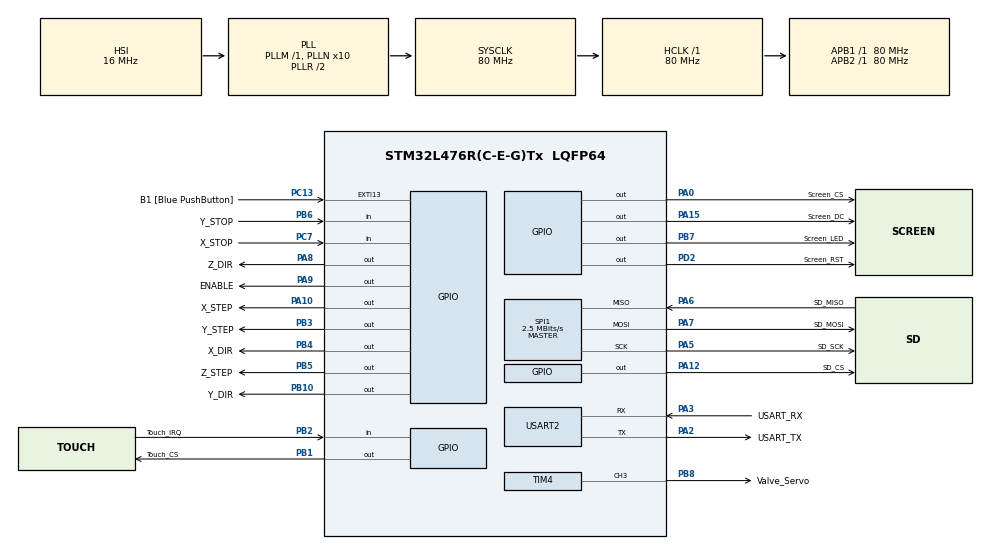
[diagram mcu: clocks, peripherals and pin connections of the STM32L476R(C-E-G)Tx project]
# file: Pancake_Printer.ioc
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FREERTOS.Queues01=commandQueue,15,int,0,Dynamic,NULL,NULL;coordQueue,15,float,0,Dynamic,NULL,NULL
FREERTOS.Tasks01=defaultTask,24,128,StartDefaultTask,Default,NULL,Dynamic,NULL,NULL;commandTask,24,350,StartCommandTask,Default,NULL,Dynamic,NULL,NULL;parserTask,24,400,StartParserTask,Default,NULL,Dynamic,NULL,NULL
FREERTOS.configTOTAL_HEAP_SIZE=5000
Mcu.Family=STM32L4
Mcu.Name=STM32L476R(C-E-G)Tx
Mcu.Package=LQFP64
NVIC.PriorityGroup=NVIC_PRIORITYGROUP_4
NVIC.TIM2_IRQn=true\:15\:0\:false\:false\:true\:false\:false\:true\:true
NVIC.TimeBase=TIM2_IRQn
NVIC.TimeBaseIP=TIM2
PA0.GPIO_Label=Screen_CS
PA0.Signal=GPIO_Output
PA10.GPIO_Label=X_STEP
PA10.GPIO_Speed=GPIO_SPEED_FREQ_VERY_HIGH
PA10.Signal=GPIO_Output
PA12.GPIO_Label=SD_CS
PA12.Signal=GPIO_Output
PA13\ (JTMS-SWDIO).GPIO_Label=TMS
PA13\ (JTMS-SWDIO).Signal=SYS_JTMS-SWDIO
PA14\ (JTCK-SWCLK).GPIO_Label=TCK
PA14\ (JTCK-SWCLK).Signal=SYS_JTCK-SWCLK
PA15\ (JTDI).GPIO_Label=Screen_DC
PA15\ (JTDI).Signal=GPIO_Output
PA2.GPIO_Label=USART_TX
PA2.GPIO_Mode=GPIO_MODE_AF_PP
PA2.GPIO_PuPd=GPIO_NOPULL
PA2.GPIO_Speed=GPIO_SPEED_FREQ_VERY_HIGH
PA2.Mode=Asynchronous
PA2.Signal=USART2_TX
PA3.GPIO_Label=USART_RX
PA3.GPIO_Mode=GPIO_MODE_AF_PP
PA3.GPIO_PuPd=GPIO_NOPULL
PA3.GPIO_Speed=GPIO_SPEED_FREQ_VERY_HIGH
PA3.Mode=Asynchronous
PA3.Signal=USART2_RX
PA5.GPIO_Label=SD_SCK
PA5.Mode=Full_Duplex_Master
PA5.Signal=SPI1_SCK
PA6.GPIO_Label=SD_MISO
PA6.Mode=Full_Duplex_Master
PA6.Signal=SPI1_MISO
PA7.GPIO_Label=SD_MOSI
PA7.Mode=Full_Duplex_Master
PA7.Signal=SPI1_MOSI
PA8.GPIO_Label=Z_DIR
PA8.GPIO_Speed=GPIO_SPEED_FREQ_LOW
PA8.Signal=GPIO_Output
PA9.GPIO_Label=ENABLE
PA9.Signal=GPIO_Output
PB1.GPIO_Label=Touch_CS
PB1.Signal=GPIO_Output
PB10.GPIO_Label=Y_DIR
PB10.Signal=GPIO_Output
PB13.GPIO_Label=Touch_SCK
PB13.Signal=SPI2_SCK
PB14.GPIO_Label=Touch_MISO
PB14.Signal=SPI2_MISO
PB15.GPIO_Label=Touch_MOSI
PB15.Signal=SPI2_MOSI
PB2.GPIO_Label=Touch_IRQ
PB2.Signal=GPIO_Input
PB3\ (JTDO-TRACESWO).GPIO_Label=Y_STEP
PB3\ (JTDO-TRACESWO).GPIO_Speed=GPIO_SPEED_FREQ_VERY_HIGH
PB3\ (JTDO-TRACESWO).Signal=GPIO_Output
PB4\ (NJTRST).GPIO_Label=X_DIR
PB4\ (NJTRST).Signal=GPIO_Output
PB5.GPIO_Label=Z_STEP
PB5.GPIO_Speed=GPIO_SPEED_FREQ_VERY_HIGH
PB5.Signal=GPIO_Output
PB6.GPIO_Label=Y_STOP
PB6.Signal=GPIO_Input
PB7.GPIO_Label=Screen_LED
PB7.Signal=GPIO_Output
PB8.GPIO_Label=Valve_Servo
PB8.Signal=S_TIM4_CH3
PC10.GPIO_Label=Screen_SCK
PC10.Signal=SPI3_SCK
PC11.GPIO_Label=Screen_MISO
PC11.Signal=SPI3_MISO
PC12.GPIO_Label=Screen_MOSI
PC12.Signal=SPI3_MOSI
PC13.GPIO_Label=B1 [Blue PushButton]
PC13.GPIO_ModeDefaultEXTI=GPIO_MODE_IT_FALLING
PC13.GPIO_PuPd=GPIO_NOPULL
PC13.Signal=GPXTI13
PC14-OSC32_IN\ (PC14).Mode=LSE-External-Oscillator
PC14-OSC32_IN\ (PC14).Signal=RCC_OSC32_IN
PC15-OSC32_OUT\ (PC15).Mode=LSE-External-Oscillator
PC15-OSC32_OUT\ (PC15).Signal=RCC_OSC32_OUT
PC7.GPIO_Label=X_STOP
PC7.Signal=GPIO_Input
PD2.GPIO_Label=Screen_RST
PD2.Signal=GPIO_Output
PH0-OSC_IN\ (PH0).Signal=RCC_OSC_IN
PH1-OSC_OUT\ (PH1).Signal=RCC_OSC_OUT
ProjectManager.HeapSize=0x200
ProjectManager.StackSize=0x400
ProjectManager.TargetToolchain=STM32CubeIDE
RCC.ADCFreq_Value=64000000
RCC.AHBFreq_Value=80000000
RCC.APB1Freq_Value=80000000
RCC.APB1TimFreq_Value=80000000
RCC.APB2Freq_Value=80000000
RCC.APB2TimFreq_Value=80000000
RCC.CortexFreq_Value=80000000
RCC.HCLKFreq_Value=80000000
RCC.HSE_VALUE=8000000
RCC.HSI_VALUE=16000000
RCC.MSI_VALUE=4000000
RCC.PLLN=10
RCC.PLLSourceVirtual=RCC_PLLSOURCE_HSI
RCC.PREFETCH_ENABLE=1
RCC.SYSCLKFreq_VALUE=80000000
RCC.SYSCLKSource=RCC_SYSCLKSOURCE_PLLCLK
RCC.USBFreq_Value=64000000
RCC.VCOOutputFreq_Value=160000000
SH.S_TIM4_CH3.0=TIM4_CH3,PWM Generation3 CH3
SPI1.BaudRatePrescaler=SPI_BAUDRATEPRESCALER_32
SPI1.CalculateBaudRate=2.5 MBits/s
SPI1.DataSize=SPI_DATASIZE_8BIT
SPI1.Direction=SPI_DIRECTION_2LINES
SPI1.Mode=SPI_MODE_MASTER
SPI1.NSSPMode=SPI_NSS_PULSE_ENABLE
SPI1.VirtualType=VM_MASTER
TIM1.Prescaler=80-1
TIM4.Channel-PWM\ Generation3\ CH3=TIM_CHANNEL_3
TIM4.OCPolarity_3=TIM_OCPOLARITY_HIGH
TIM4.Period=16000
TIM4.Prescaler=100
TIM4.Pulse-PWM\ Generation3\ CH3=16000
USART2.VirtualMode-Asynchronous=VM_ASYNC
VP_FATFS_VS_Generic.Mode=User_defined
VP_FREERTOS_VS_CMSIS_V2.Mode=CMSIS_V2
VP_SYS_VS_tim2.Mode=TIM2
VP_TIM1_VS_ClockSourceINT.Mode=Internal
board=NUCLEO-L476RG

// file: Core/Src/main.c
/* USER CODE BEGIN Header */
/**
  ******************************************************************************
  * @file           : main.c
  * @brief          : Main program body
  ******************************************************************************
  * @attention
  *
  * Copyright (c) 2023 STMicroelectronics.
  * All rights reserved.
  *
  * This software is licensed under terms that can be found in the LICENSE file
  * in the root directory of this software component.
  * If no LICENSE file comes with this software, it is provided AS-IS.
  *
  ******************************************************************************
  */
/* USER CODE END Header */
#include "main.h"
#include "cmsis_os.h"
#include "fatfs.h"

/* USER CODE BEGIN Includes */
#include <stdbool.h>
#include "Movement.h"
#include "sdcard.h"
#include "interpreter.h"
/* USER CODE END Includes */

SPI_HandleTypeDef hspi1;

TIM_HandleTypeDef htim1;
TIM_HandleTypeDef htim4;

UART_HandleTypeDef huart2;

/* Definitions for defaultTask */
osThreadId_t defaultTaskHandle;
const osThreadAttr_t defaultTask_attributes = {
  .name = "defaultTask",
  .stack_size = 128 * 4,
  .priority = (osPriority_t) osPriorityNormal,
};
/* Definitions for commandTask */
osThreadId_t commandTaskHandle;
const osThreadAttr_t commandTask_attributes = {
  .name = "commandTask",
  .stack_size = 350 * 4,
  .priority = (osPriority_t) osPriorityNormal,
};
/* Definitions for parserTask */
osThreadId_t parserTaskHandle;
const osThreadAttr_t parserTask_attributes = {
  .name = "parserTask",
  .stack_size = 400 * 4,
  .priority = (osPriority_t) osPriorityNormal,
};
/* Definitions for commandQueue */
osMessageQueueId_t commandQueueHandle;
const osMessageQueueAttr_t commandQueue_attributes = {
  .name = "commandQueue"
};
/* Definitions for coordQueue */
osMessageQueueId_t coordQueueHandle;
const osMessageQueueAttr_t coordQueue_attributes = {
  .name = "coordQueue"
};

void SystemClock_Config(void);
static void MX_GPIO_Init(void);
static void MX_USART2_UART_Init(void);
static void MX_TIM1_Init(void);
static void MX_SPI1_Init(void);
static void MX_TIM4_Init(void);
void StartDefaultTask(void *argument);
void StartCommandTask(void *argument);
void StartParserTask(void *argument);

int main(void)
{

  /* MCU Configuration--------------------------------------------------------*/

  /* Reset of all peripherals, Initializes the Flash interface and the Systick. */
  HAL_Init();

  /* Configure the system clock */
  SystemClock_Config();

  /* Initialize all configured peripherals */
  MX_GPIO_Init();
  MX_USART2_UART_Init();
  MX_TIM1_Init();
  MX_SPI1_Init();
  MX_FATFS_Init();
  MX_TIM4_Init();
  /* USER CODE BEGIN 2 */
  HAL_TIM_PWM_Start(&htim4, TIM_CHANNEL_3);
  motor_init();
  //reset_extruder();
  OpenFile("test.gcode");

  /* USER CODE END 2 */

  /* Init scheduler */
  osKernelInitialize();

  /* Create the queue(s) */
  /* creation of commandQueue */
  commandQueueHandle = osMessageQueueNew (15, sizeof(int), &commandQueue_attributes);

  /* creation of coordQueue */
  coordQueueHandle = osMessageQueueNew (15, sizeof(float), &coordQueue_attributes);

  /* Create the thread(s) */
  /* creation of defaultTask */
  defaultTaskHandle = osThreadNew(StartDefaultTask, NULL, &defaultTask_attributes);

  /* creation of commandTask */
  commandTaskHandle = osThreadNew(StartCommandTask, NULL, &commandTask_attributes);

  /* creation of parserTask */
  parserTaskHandle = osThreadNew(StartParserTask, NULL, &parserTask_attributes);

  /* Start scheduler */
  osKernelStart();

  /* We should never get here as control is now taken by the scheduler */
  /* Infinite loop */
  while (1)
  {

  }
}

void SystemClock_Config(void)
{
  RCC_OscInitTypeDef RCC_OscInitStruct = {0};
  RCC_ClkInitTypeDef RCC_ClkInitStruct = {0};

  /** Configure the main internal regulator output voltage
  */
  if (HAL_PWREx_ControlVoltageScaling(PWR_REGULATOR_VOLTAGE_SCALE1) != HAL_OK)
  {
    Error_Handler();
  }

  /** Initializes the RCC Oscillators according to the specified parameters
  * in the RCC_OscInitTypeDef structure.
  */
  RCC_OscInitStruct.OscillatorType = RCC_OSCILLATORTYPE_HSI;
  RCC_OscInitStruct.HSIState = RCC_HSI_ON;
  RCC_OscInitStruct.HSICalibrationValue = RCC_HSICALIBRATION_DEFAULT;
  RCC_OscInitStruct.PLL.PLLState = RCC_PLL_ON;
  RCC_OscInitStruct.PLL.PLLSource = RCC_PLLSOURCE_HSI;
  RCC_OscInitStruct.PLL.PLLM = 1;
  RCC_OscInitStruct.PLL.PLLN = 10;
  RCC_OscInitStruct.PLL.PLLP = RCC_PLLP_DIV7;
  RCC_OscInitStruct.PLL.PLLQ = RCC_PLLQ_DIV2;
  RCC_OscInitStruct.PLL.PLLR = RCC_PLLR_DIV2;
  if (HAL_RCC_OscConfig(&RCC_OscInitStruct) != HAL_OK)
  {
    Error_Handler();
  }

  /** Initializes the CPU, AHB and APB buses clocks
  */
  RCC_ClkInitStruct.ClockType = RCC_CLOCKTYPE_HCLK|RCC_CLOCKTYPE_SYSCLK
                              |RCC_CLOCKTYPE_PCLK1|RCC_CLOCKTYPE_PCLK2;
  RCC_ClkInitStruct.SYSCLKSource = RCC_SYSCLKSOURCE_PLLCLK;
  RCC_ClkInitStruct.AHBCLKDivider = RCC_SYSCLK_DIV1;
  RCC_ClkInitStruct.APB1CLKDivider = RCC_HCLK_DIV1;
  RCC_ClkInitStruct.APB2CLKDivider = RCC_HCLK_DIV1;

  if (HAL_RCC_ClockConfig(&RCC_ClkInitStruct, FLASH_LATENCY_4) != HAL_OK)
  {
    Error_Handler();
  }
}

static void MX_SPI1_Init(void)
{

  /* SPI1 parameter configuration*/
  hspi1.Instance = SPI1;
  hspi1.Init.Mode = SPI_MODE_MASTER;
  hspi1.Init.Direction = SPI_DIRECTION_2LINES;
  hspi1.Init.DataSize = SPI_DATASIZE_8BIT;
  hspi1.Init.CLKPolarity = SPI_POLARITY_LOW;
  hspi1.Init.CLKPhase = SPI_PHASE_1EDGE;
  hspi1.Init.NSS = SPI_NSS_SOFT;
  hspi1.Init.BaudRatePrescaler = SPI_BAUDRATEPRESCALER_32;
  hspi1.Init.FirstBit = SPI_FIRSTBIT_MSB;
  hspi1.Init.TIMode = SPI_TIMODE_DISABLE;
  hspi1.Init.CRCCalculation = SPI_CRCCALCULATION_DISABLE;
  hspi1.Init.CRCPolynomial = 7;
  hspi1.Init.CRCLength = SPI_CRC_LENGTH_DATASIZE;
  hspi1.Init.NSSPMode = SPI_NSS_PULSE_ENABLE;
  if (HAL_SPI_Init(&hspi1) != HAL_OK)
  {
    Error_Handler();
  }

}

static void MX_TIM1_Init(void)
{

  TIM_ClockConfigTypeDef sClockSourceConfig = {0};
  TIM_MasterConfigTypeDef sMasterConfig = {0};

  htim1.Instance = TIM1;
  htim1.Init.Prescaler = 80-1;
  htim1.Init.CounterMode = TIM_COUNTERMODE_UP;
  htim1.Init.Period = 65535;
  htim1.Init.ClockDivision = TIM_CLOCKDIVISION_DIV1;
  htim1.Init.RepetitionCounter = 0;
  htim1.Init.AutoReloadPreload = TIM_AUTORELOAD_PRELOAD_DISABLE;
  if (HAL_TIM_Base_Init(&htim1) != HAL_OK)
  {
    Error_Handler();
  }
  sClockSourceConfig.ClockSource = TIM_CLOCKSOURCE_INTERNAL;
  if (HAL_TIM_ConfigClockSource(&htim1, &sClockSourceConfig) != HAL_OK)
  {
    Error_Handler();
  }
  sMasterConfig.MasterOutputTrigger = TIM_TRGO_RESET;
  sMasterConfig.MasterOutputTrigger2 = TIM_TRGO2_RESET;
  sMasterConfig.MasterSlaveMode = TIM_MASTERSLAVEMODE_DISABLE;
  if (HAL_TIMEx_MasterConfigSynchronization(&htim1, &sMasterConfig) != HAL_OK)
  {
    Error_Handler();
  }

}

static void MX_TIM4_Init(void)
{

  TIM_MasterConfigTypeDef sMasterConfig = {0};
  TIM_OC_InitTypeDef sConfigOC = {0};

  htim4.Instance = TIM4;
  htim4.Init.Prescaler = 100;
  htim4.Init.CounterMode = TIM_COUNTERMODE_UP;
  htim4.Init.Period = 16000;
  htim4.Init.ClockDivision = TIM_CLOCKDIVISION_DIV1;
  htim4.Init.AutoReloadPreload = TIM_AUTORELOAD_PRELOAD_DISABLE;
  if (HAL_TIM_PWM_Init(&htim4) != HAL_OK)
  {
    Error_Handler();
  }
  sMasterConfig.MasterOutputTrigger = TIM_TRGO_RESET;
  sMasterConfig.MasterSlaveMode = TIM_MASTERSLAVEMODE_DISABLE;
  if (HAL_TIMEx_MasterConfigSynchronization(&htim4, &sMasterConfig) != HAL_OK)
  {
    Error_Handler();
  }
  sConfigOC.OCMode = TIM_OCMODE_PWM1;
  sConfigOC.Pulse = 16000;
  sConfigOC.OCPolarity = TIM_OCPOLARITY_HIGH;
  sConfigOC.OCFastMode = TIM_OCFAST_DISABLE;
  if (HAL_TIM_PWM_ConfigChannel(&htim4, &sConfigOC, TIM_CHANNEL_3) != HAL_OK)
  {
    Error_Handler();
  }
  HAL_TIM_MspPostInit(&htim4);

}

static void MX_USART2_UART_Init(void)
{

  huart2.Instance = USART2;
  huart2.Init.BaudRate = 115200;
  huart2.Init.WordLength = UART_WORDLENGTH_8B;
  huart2.Init.StopBits = UART_STOPBITS_1;
  huart2.Init.Parity = UART_PARITY_NONE;
  huart2.Init.Mode = UART_MODE_TX_RX;
  huart2.Init.HwFlowCtl = UART_HWCONTROL_NONE;
  huart2.Init.OverSampling = UART_OVERSAMPLING_16;
  huart2.Init.OneBitSampling = UART_ONE_BIT_SAMPLE_DISABLE;
  huart2.AdvancedInit.AdvFeatureInit = UART_ADVFEATURE_NO_INIT;
  if (HAL_UART_Init(&huart2) != HAL_OK)
  {
    Error_Handler();
  }

}

static void MX_GPIO_Init(void)
{
  GPIO_InitTypeDef GPIO_InitStruct = {0};

  /* GPIO Ports Clock Enable */
  __HAL_RCC_GPIOC_CLK_ENABLE();
  __HAL_RCC_GPIOH_CLK_ENABLE();
  __HAL_RCC_GPIOA_CLK_ENABLE();
  __HAL_RCC_GPIOB_CLK_ENABLE();
  __HAL_RCC_GPIOD_CLK_ENABLE();

  /*Configure GPIO pin Output Level */
  HAL_GPIO_WritePin(GPIOA, Screen_CS_Pin|Z_DIR_Pin|ENABLE_Pin|X_STEP_Pin
                          |SD_CS_Pin|Screen_DC_Pin, GPIO_PIN_RESET);

  /*Configure GPIO pin Output Level */
  HAL_GPIO_WritePin(GPIOB, Touch_CS_Pin|Y_DIR_Pin|Y_STEP_Pin|X_DIR_Pin
                          |Z_STEP_Pin|Screen_LED_Pin, GPIO_PIN_RESET);

  /*Configure GPIO pin Output Level */
  HAL_GPIO_WritePin(Screen_RST_GPIO_Port, Screen_RST_Pin, GPIO_PIN_RESET);

  /*Configure GPIO pin : B1_Pin */
  GPIO_InitStruct.Pin = B1_Pin;
  GPIO_InitStruct.Mode = GPIO_MODE_IT_FALLING;
  GPIO_InitStruct.Pull = GPIO_NOPULL;
  HAL_GPIO_Init(B1_GPIO_Port, &GPIO_InitStruct);

  /*Configure GPIO pins : Screen_CS_Pin Z_DIR_Pin ENABLE_Pin SD_CS_Pin
                           Screen_DC_Pin */
  GPIO_InitStruct.Pin = Screen_CS_Pin|Z_DIR_Pin|ENABLE_Pin|SD_CS_Pin
                          |Screen_DC_Pin;
  GPIO_InitStruct.Mode = GPIO_MODE_OUTPUT_PP;
  GPIO_InitStruct.Pull = GPIO_NOPULL;
  GPIO_InitStruct.Speed = GPIO_SPEED_FREQ_LOW;
  HAL_GPIO_Init(GPIOA, &GPIO_InitStruct);

  /*Configure GPIO pins : Touch_CS_Pin Y_DIR_Pin X_DIR_Pin Screen_LED_Pin */
  GPIO_InitStruct.Pin = Touch_CS_Pin|Y_DIR_Pin|X_DIR_Pin|Screen_LED_Pin;
  GPIO_InitStruct.Mode = GPIO_MODE_OUTPUT_PP;
  GPIO_InitStruct.Pull = GPIO_NOPULL;
  GPIO_InitStruct.Speed = GPIO_SPEED_FREQ_LOW;
  HAL_GPIO_Init(GPIOB, &GPIO_InitStruct);

  /*Configure GPIO pins : Touch_IRQ_Pin Y_STOP_Pin */
  GPIO_InitStruct.Pin = Touch_IRQ_Pin|Y_STOP_Pin;
  GPIO_InitStruct.Mode = GPIO_MODE_INPUT;
  GPIO_InitStruct.Pull = GPIO_NOPULL;
  HAL_GPIO_Init(GPIOB, &GPIO_InitStruct);

  /*Configure GPIO pins : Touch_SCK_Pin Touch_MISO_Pin Touch_MOSI_Pin */
  GPIO_InitStruct.Pin = Touch_SCK_Pin|Touch_MISO_Pin|Touch_MOSI_Pin;
  GPIO_InitStruct.Mode = GPIO_MODE_AF_PP;
  GPIO_InitStruct.Pull = GPIO_NOPULL;
  GPIO_InitStruct.Speed = GPIO_SPEED_FREQ_VERY_HIGH;
  GPIO_InitStruct.Alternate = GPIO_AF5_SPI2;
  HAL_GPIO_Init(GPIOB, &GPIO_InitStruct);

  /*Configure GPIO pin : X_STOP_Pin */
  GPIO_InitStruct.Pin = X_STOP_Pin;
  GPIO_InitStruct.Mode = GPIO_MODE_INPUT;
  GPIO_InitStruct.Pull = GPIO_NOPULL;
  HAL_GPIO_Init(X_STOP_GPIO_Port, &GPIO_InitStruct);

  /*Configure GPIO pin : X_STEP_Pin */
  GPIO_InitStruct.Pin = X_STEP_Pin;
  GPIO_InitStruct.Mode = GPIO_MODE_OUTPUT_PP;
  GPIO_InitStruct.Pull = GPIO_NOPULL;
  GPIO_InitStruct.Speed = GPIO_SPEED_FREQ_VERY_HIGH;
  HAL_GPIO_Init(X_STEP_GPIO_Port, &GPIO_InitStruct);

  /*Configure GPIO pins : Screen_SCK_Pin Screen_MISO_Pin Screen_MOSI_Pin */
  GPIO_InitStruct.Pin = Screen_SCK_Pin|Screen_MISO_Pin|Screen_MOSI_Pin;
  GPIO_InitStruct.Mode = GPIO_MODE_AF_PP;
  GPIO_InitStruct.Pull = GPIO_NOPULL;
  GPIO_InitStruct.Speed = GPIO_SPEED_FREQ_VERY_HIGH;
  GPIO_InitStruct.Alternate = GPIO_AF6_SPI3;
  HAL_GPIO_Init(GPIOC, &GPIO_InitStruct);

  /*Configure GPIO pin : Screen_RST_Pin */
  GPIO_InitStruct.Pin = Screen_RST_Pin;
  GPIO_InitStruct.Mode = GPIO_MODE_OUTPUT_PP;
  GPIO_InitStruct.Pull = GPIO_NOPULL;
  GPIO_InitStruct.Speed = GPIO_SPEED_FREQ_LOW;
  HAL_GPIO_Init(Screen_RST_GPIO_Port, &GPIO_InitStruct);

  /*Configure GPIO pins : Y_STEP_Pin Z_STEP_Pin */
  GPIO_InitStruct.Pin = Y_STEP_Pin|Z_STEP_Pin;
  GPIO_InitStruct.Mode = GPIO_MODE_OUTPUT_PP;
  GPIO_InitStruct.Pull = GPIO_NOPULL;
  GPIO_InitStruct.Speed = GPIO_SPEED_FREQ_VERY_HIGH;
  HAL_GPIO_Init(GPIOB, &GPIO_InitStruct);

}

void StartDefaultTask(void *argument)
{
  for(;;)
  {
    osDelay(1);
  }
}

void StartCommandTask(void *argument)
{
  /* USER CODE BEGIN StartCommandTask */
    /* Infinite loop */
/*  servo_angle_set(0);
  osDelay(15000);
  servo_angle_set(8);
  osDelay(30000);
  servo_angle_set(6);
  osDelay(30000);
  servo_angle_set(8);
  osDelay(30000);
  servo_angle_set(10);

  for(int i = 3; i <= 25; i++){
    servo_angle_set(i);
    osDelay(1000);
    myprintf("%d degrees\n", i);
    servo_angle_set(0);
    osDelay(1000);
  }
    home();
    for(int i = 0; i < 50; i++){
      set_speed(30 + i * 10);
      move(100, 50);
      if(i > 20){
        wait(100);
      }
      set_speed(40 + i * 10);
      move(200, 100);
      if(i > 20){
        wait(100);
      }
    }
    start_extrusion();
    wait(1000);
    stop_extrusion();
    wait(1000);
    start_extrusion();
    wait(500);
    stop_extrusion();
    wait(500);
    start_extrusion();
    wait(100);
    stop_extrusion();
    wait(100);

    for(;;){
      osDelay(1);
    }*/

    uint8_t  prio = 100;

    int cmd = -1;

    float xCoord = -1;
    float yCoord = -1;

    int speedSet = 0;
    int pauseDur = 0;

    int rres;

    while(1){
      rres = osMessageQueueGet(commandQueueHandle, &cmd, &prio, (uint32_t) 1);
      if(rres == osOK){
        switch (cmd) {
          case 1:
            // Add code to handle G1 Set Speed
            osMessageQueueGet(commandQueueHandle, &speedSet, &prio, 1);
            myprintf("speed: %d ", speedSet/240);
            set_speed(speedSet/240);
            break;
          case 4:
            // handle G4 Pause
            osMessageQueueGet(commandQueueHandle, &pauseDur, &prio, 1);
            wait(pauseDur);
            break;
          case 0:
            // handle G0 X{xCoord} Y{yCoord}
            osMessageQueueGet(coordQueueHandle, &xCoord, &prio, 1);
            osMessageQueueGet(coordQueueHandle, &yCoord, &prio, 1);
            move(xCoord, yCoord);
            break;
          case 28:
            // handle G28 Home
            home();
            break;
          case 106:
            // handle M106 Start Extrusion
            start_extrusion();
            break;
          case 107:
            // handle M107 Stop Extrusion
            stop_extrusion();
            break;
          default:
            break;
        }
      }
      else{
        osDelay(20);
      }
    }
    for(;;){
      osDelay(1);
    }
  /* USER CODE END StartCommandTask */
}

void StartParserTask(void *argument)
{
  /* USER CODE BEGIN StartParserTask */
  /* Infinite loop */
  int cmdtotal = 0;
  int cmd_cnt = 0;

  BYTE line[50];

  bool complete = false;

  do {
    cmd_cnt = osMessageQueueGetCount(commandQueueHandle);
    if(cmd_cnt < 15){

      GetLine(line);
      cmdtotal += 1;
      complete = eof();

      myprintf((const char*)line);
      InterpretLine((const char*)line);
      myprintf("queue size: %d --- ", cmd_cnt);
      myprintf("lines processed: %d ", cmdtotal);

    }
    else{
      osDelay(1);
    }
  }
  while(!complete);

  CloseFile();
  for(;;)
  {
    osDelay(1);
  }
  /* USER CODE END StartParserTask */
}

void HAL_TIM_PeriodElapsedCallback(TIM_HandleTypeDef *htim)
{
  if (htim->Instance == TIM2) {
    HAL_IncTick();
  }
}

void Error_Handler(void)
{
  __disable_irq();
  while (1)
  {
  }
}
